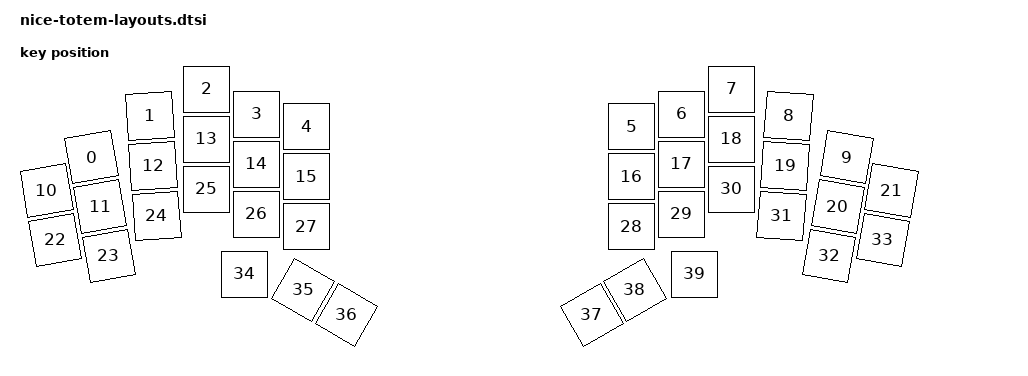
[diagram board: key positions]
#include <physical_layouts.dtsi>

/ {
    default_physical_layout: default_physical_layout {
        compatible = "zmk,physical-layout";
        display-name = "LAYOUT";

        kscan = <&kscan0>;
        transform = <&default_transform>;

        keys  //                     w   h    x    y     rot    rx    ry
            = <&key_physical_attrs 100 100  100  125 (-1000)   200   370>
            , <&key_physical_attrs 100 100  197   50  (-400)   297   300>
            , <&key_physical_attrs 100 100  297    0       0     0     0>
            , <&key_physical_attrs 100 100  397   50       0     0     0>
            , <&key_physical_attrs 100 100  497   75       0     0     0>
            , <&key_physical_attrs 100 100 1147   75       0     0     0>
            , <&key_physical_attrs 100 100 1247   50       0     0     0>
            , <&key_physical_attrs 100 100 1347    0       0     0     0>
            , <&key_physical_attrs 100 100 1447   50     400  1447   300>
            , <&key_physical_attrs 100 100 1544  125    1000  1544   370>
            , <&key_physical_attrs 100 100    0  175 (-1000)   200   370>
            , <&key_physical_attrs 100 100  100  225 (-1000)   200   370>
            , <&key_physical_attrs 100 100  197  150  (-400)   297   300>
            , <&key_physical_attrs 100 100  297  100       0     0     0>
            , <&key_physical_attrs 100 100  397  150       0     0     0>
            , <&key_physical_attrs 100 100  497  175       0     0     0>
            , <&key_physical_attrs 100 100 1147  175       0     0     0>
            , <&key_physical_attrs 100 100 1247  150       0     0     0>
            , <&key_physical_attrs 100 100 1347  100       0     0     0>
            , <&key_physical_attrs 100 100 1447  150     400  1447   300>
            , <&key_physical_attrs 100 100 1544  225    1000  1544   370>
            , <&key_physical_attrs 100 100 1644  175    1000  1544   370>
            , <&key_physical_attrs 100 100    0  275 (-1000)   200   370>
            , <&key_physical_attrs 100 100  100  325 (-1000)   200   370>
            , <&key_physical_attrs 100 100  197  250  (-400)   297   300>
            , <&key_physical_attrs 100 100  297  200       0     0     0>
            , <&key_physical_attrs 100 100  397  250       0     0     0>
            , <&key_physical_attrs 100 100  497  275       0     0     0>
            , <&key_physical_attrs 100 100 1147  275       0     0     0>
            , <&key_physical_attrs 100 100 1247  250       0     0     0>
            , <&key_physical_attrs 100 100 1347  200       0     0     0>
            , <&key_physical_attrs 100 100 1447  250     400  1447   300>
            , <&key_physical_attrs 100 100 1544  325    1000  1544   370>
            , <&key_physical_attrs 100 100 1644  275    1000  1544   370>
            , <&key_physical_attrs 100 100  372  370       0     0     0>
            , <&key_physical_attrs 100 100  472  370    3000   472   470>
            , <&key_physical_attrs 100 100  572  370    3000   472   470>
            , <&key_physical_attrs 100 100 1072  370 (-3000)  1272   470>
            , <&key_physical_attrs 100 100 1172  370 (-3000)  1272   470>
            , <&key_physical_attrs 100 100 1272  370       0     0     0>
            ;
    };
};
